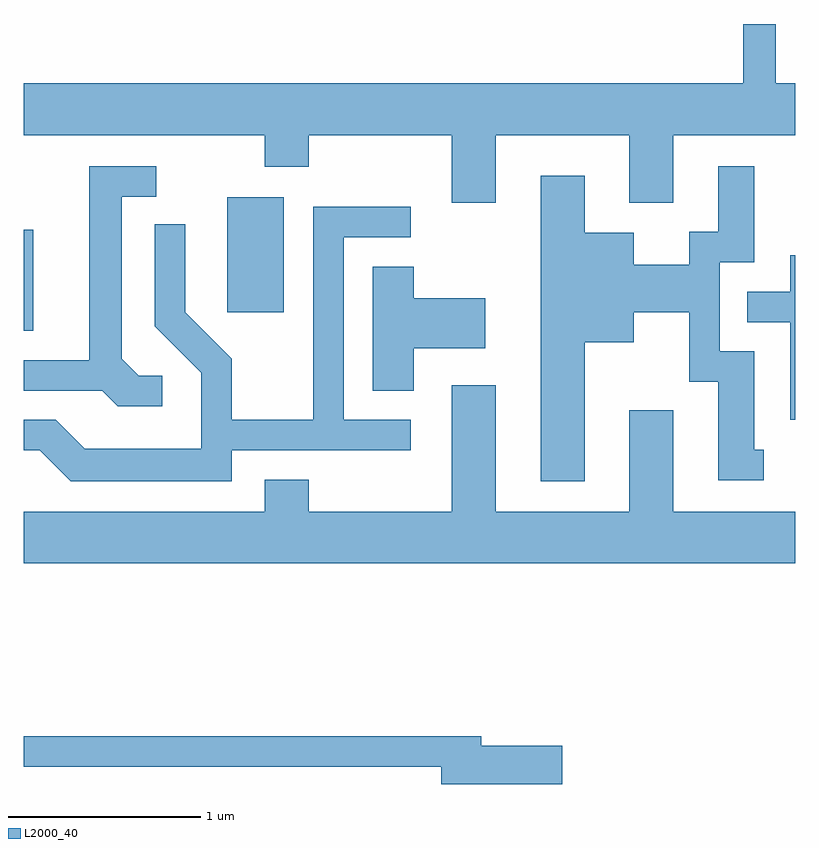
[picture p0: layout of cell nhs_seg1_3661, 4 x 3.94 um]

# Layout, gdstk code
import gdstk
lib = gdstk.Library(unit=1e-6, precision=1e-09)
def R(c, l, rs):  # rectangles x0, y0, x1, y1
    for r in rs: c.add(gdstk.rectangle(r[:2], r[2:], *l))
def P(c, l, *ps):  # polygons
    for p in ps: c.add(gdstk.Polygon(p, *l))
L2000_40 = (2000, 40)

nhs_seg1_3661 = lib.new_cell('nhs_seg1_3661')
R(nhs_seg1_3661, L2000_40, [(295.611,894.121,295.659,894.644), (296.666,894.216,296.959,894.814)])
P(nhs_seg1_3661, L2000_40, [(298.059,895.136),(298.751,895.136),(298.751,894.786),(298.979,894.786),(298.979,895.136),(299.611,895.136),(299.611,895.404),(299.509,895.404),(299.509,895.712),(299.341,895.712),(299.341,895.404),(295.611,895.404),(295.611,895.136),(296.861,895.136),(296.861,894.971),(297.089,894.971),(297.089,895.136),(297.831,895.136),(297.831,894.786),(298.059,894.786)],
  [(296.328,893.889),(296.207,893.889),(296.119,893.977),(296.119,894.816),(296.298,894.816),(296.298,894.974),(295.951,894.974),(295.951,893.969),(295.611,893.969),(295.611,893.811),(296.019,893.811),(296.099,893.731),(296.328,893.731)],
  [(298.519,894.061),(298.774,894.061),(298.774,894.216),(299.061,894.216),(299.061,893.856),(299.211,893.856),(299.211,893.346),(299.448,893.346),(299.448,893.504),(299.399,893.504),(299.399,894.014),(299.219,894.014),(299.219,894.476),(299.399,894.476),(299.399,894.974),(299.211,894.974),(299.211,894.634),(299.061,894.634),(299.061,894.464),(298.774,894.464),(298.774,894.629),(298.519,894.629),(298.519,894.924),(298.291,894.924),(298.291,893.341),(298.519,893.341)],
  [(296.689,893.501),(297.618,893.501),(297.618,893.659),(297.269,893.659),(297.269,894.606),(297.618,894.606),(297.618,894.764),(297.111,894.764),(297.111,893.659),(296.689,893.659),(296.689,893.977),(296.449,894.217),(296.449,894.673),(296.291,894.673),(296.291,894.144),(296.531,893.904),(296.531,893.509),(295.927,893.509),(295.777,893.659),(295.611,893.659),(295.611,893.501),(295.694,893.501),(295.854,893.341),(296.689,893.341)],
  [(299.611,894.514),(299.586,894.514),(299.586,894.324),(299.363,894.324),(299.363,894.166),(299.586,894.166),(299.586,893.661),(299.611,893.661)],
  [(297.634,894.031),(298.004,894.031),(298.004,894.289),(297.634,894.289),(297.634,894.454),(297.421,894.454),(297.421,893.811),(297.634,893.811)],
  [(299.611,893.184),(298.979,893.184),(298.979,893.709),(298.751,893.709),(298.751,893.184),(298.059,893.184),(298.059,893.839),(297.831,893.839),(297.831,893.184),(297.089,893.184),(297.089,893.349),(296.861,893.349),(296.861,893.184),(295.611,893.184),(295.611,892.916),(299.611,892.916)],
  [(298.404,891.969),(297.984,891.969),(297.984,892.019),(295.611,892.019),(295.611,891.861),(297.776,891.861),(297.776,891.771),(298.404,891.771)])

lib.write_gds('nhs_seg1_3661.gds')
